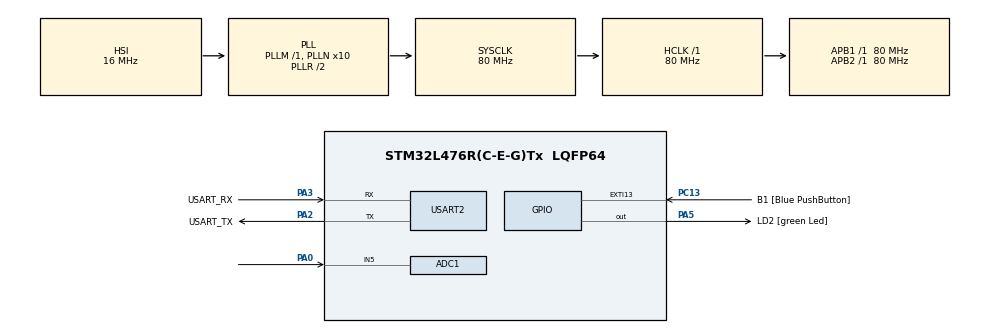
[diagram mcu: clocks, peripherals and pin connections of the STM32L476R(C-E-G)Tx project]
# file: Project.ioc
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ADC1.Channel-0\#ChannelRegularConversion=ADC_CHANNEL_5
ADC1.DMAContinuousRequests=ENABLE
ADC1.ExternalTrigConv=ADC_EXTERNALTRIG_T6_TRGO
ADC1.NbrOfConversionFlag=1
ADC1.master=1
Dma.ADC1.0.Direction=DMA_PERIPH_TO_MEMORY
Dma.ADC1.0.Instance=DMA1_Channel1
Dma.ADC1.0.MemDataAlignment=DMA_MDATAALIGN_HALFWORD
Dma.ADC1.0.MemInc=DMA_MINC_ENABLE
Dma.ADC1.0.Mode=DMA_CIRCULAR
Dma.ADC1.0.PeriphDataAlignment=DMA_PDATAALIGN_HALFWORD
Dma.ADC1.0.PeriphInc=DMA_PINC_DISABLE
Dma.ADC1.0.Priority=DMA_PRIORITY_HIGH
Dma.Request0=ADC1
Mcu.Family=STM32L4
Mcu.Name=STM32L476R(C-E-G)Tx
Mcu.Package=LQFP64
NVIC.DMA1_Channel1_IRQn=true\:0\:0\:false\:false\:true\:false\:true\:true
NVIC.EXTI15_10_IRQn=true\:0\:0\:false\:false\:true\:true\:true\:true
NVIC.PriorityGroup=NVIC_PRIORITYGROUP_4
PA0.Signal=ADCx_IN5
PA13\ (JTMS-SWDIO).GPIO_Label=TMS
PA13\ (JTMS-SWDIO).Mode=Serial_Wire
PA13\ (JTMS-SWDIO).Signal=SYS_JTMS-SWDIO
PA14\ (JTCK-SWCLK).GPIO_Label=TCK
PA14\ (JTCK-SWCLK).Mode=Serial_Wire
PA14\ (JTCK-SWCLK).Signal=SYS_JTCK-SWCLK
PA2.GPIO_Label=USART_TX
PA2.GPIO_Mode=GPIO_MODE_AF_PP
PA2.GPIO_PuPd=GPIO_NOPULL
PA2.GPIO_Speed=GPIO_SPEED_FREQ_VERY_HIGH
PA2.Mode=Asynchronous
PA2.Signal=USART2_TX
PA3.GPIO_Label=USART_RX
PA3.GPIO_Mode=GPIO_MODE_AF_PP
PA3.GPIO_PuPd=GPIO_NOPULL
PA3.GPIO_Speed=GPIO_SPEED_FREQ_VERY_HIGH
PA3.Mode=Asynchronous
PA3.Signal=USART2_RX
PA5.GPIO_Label=LD2 [green Led]
PA5.GPIO_ModeDefaultOutputPP=GPIO_MODE_OUTPUT_PP
PA5.GPIO_PuPd=GPIO_NOPULL
PA5.GPIO_Speed=GPIO_SPEED_FREQ_LOW
PA5.Signal=GPIO_Output
PB3\ (JTDO-TRACESWO).GPIO_Label=SWO
PB3\ (JTDO-TRACESWO).Signal=SYS_JTDO-SWO
PC13.GPIO_Label=B1 [Blue PushButton]
PC13.GPIO_ModeDefaultEXTI=GPIO_MODE_IT_RISING
PC13.GPIO_PuPd=GPIO_NOPULL
PC13.Signal=GPXTI13
PC14-OSC32_IN\ (PC14).Mode=LSE-External-Oscillator
PC14-OSC32_IN\ (PC14).Signal=RCC_OSC32_IN
PC15-OSC32_OUT\ (PC15).Mode=LSE-External-Oscillator
PC15-OSC32_OUT\ (PC15).Signal=RCC_OSC32_OUT
PH0-OSC_IN\ (PH0).Signal=RCC_OSC_IN
PH1-OSC_OUT\ (PH1).Signal=RCC_OSC_OUT
ProjectManager.HeapSize=0x200
ProjectManager.StackSize=0x400
ProjectManager.TargetToolchain=STM32CubeIDE
RCC.ADCFreq_Value=64000000
RCC.AHBFreq_Value=80000000
RCC.APB1Freq_Value=80000000
RCC.APB1TimFreq_Value=80000000
RCC.APB2Freq_Value=80000000
RCC.APB2TimFreq_Value=80000000
RCC.CortexFreq_Value=80000000
RCC.HCLKFreq_Value=80000000
RCC.HSE_VALUE=8000000
RCC.HSI_VALUE=16000000
RCC.MSI_VALUE=4000000
RCC.PLLN=10
RCC.PLLSourceVirtual=RCC_PLLSOURCE_HSI
RCC.PREFETCH_ENABLE=1
RCC.SYSCLKFreq_VALUE=80000000
RCC.SYSCLKSource=RCC_SYSCLKSOURCE_PLLCLK
RCC.USBFreq_Value=64000000
RCC.VCOOutputFreq_Value=160000000
SH.ADCx_IN5.0=ADC1_IN5,IN5-Single-Ended
TIM6.Period=49
TIM6.Prescaler=79
TIM6.TIM_MasterOutputTrigger=TIM_TRGO_UPDATE
USART2.VirtualMode-Asynchronous=VM_ASYNC
VP_TIM6_VS_ClockSourceINT.Mode=Enable_Timer
board=NUCLEO-L476RG

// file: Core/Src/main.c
/* USER CODE BEGIN Header */
/**
  ******************************************************************************
  * @file           : main.c
  * @brief          : Main program body
  ******************************************************************************
  * @attention
  *
  * Copyright (c) 2025 STMicroelectronics.
  * All rights reserved.
  *
  * This software is licensed under terms that can be found in the LICENSE file
  * in the root directory of this software component.
  * If no LICENSE file comes with this software, it is provided AS-IS.
  *
  ******************************************************************************
  */
/* USER CODE END Header */
#include "main.h"
#include "arm_math.h"
#include "stm32l476xx.h"
#include "stm32l4xx_hal.h"
#include "stm32l4xx_hal_adc.h"
#include "stm32l4xx_hal_gpio.h"

/* USER CODE BEGIN PD */
#define FFT_LENGTH 4096
#define FREQ_CAP 256
#define SAMPLING_RATE 20000
#define MARGIN 20
#define PASSWORD 5

/* USER CODE END PD */

ADC_HandleTypeDef hadc1;
DMA_HandleTypeDef hdma_adc1;

TIM_HandleTypeDef htim6;

UART_HandleTypeDef huart2;

/* USER CODE BEGIN PV */
enum Flag_t {TRUE, FALSE};
enum Flag_t button_flag = FALSE;
float32_t temp;
float32_t row_freq;
float32_t col_freq;

char number;
char row;
char col;

float32_t output_fft[FFT_LENGTH];
float32_t output_fft_mag[FFT_LENGTH / 2];
float32_t fft_buffer[FFT_LENGTH];
float32_t output_freq[FFT_LENGTH / 2];

uint16_t adc_buffer[FFT_LENGTH];

arm_rfft_fast_instance_f32 fft_handler;
/* USER CODE END PV */

void SystemClock_Config(void);
static void MX_GPIO_Init(void);
static void MX_DMA_Init(void);
static void MX_USART2_UART_Init(void);
static void MX_ADC1_Init(void);
static void MX_TIM6_Init(void);

/* USER CODE BEGIN 0 */
void button_logic(){
  row = 0;
  col = 0;

  if (row_freq > (697 - MARGIN) && row_freq < (697 + MARGIN)){
    row = 1;
  }
  else if (row_freq > (770 - MARGIN) && row_freq < (770 + MARGIN)){
    row = 2;
  }
  else if (row_freq > (852 - MARGIN) && row_freq < (852 + MARGIN)){
    row = 3;
  }
  else if (row_freq > (941 - MARGIN) && row_freq < (941 + MARGIN)){
    row = 4;
  }
  if (col_freq > (1209 - MARGIN) && col_freq < (1209 + MARGIN)){
    col = 1;
  }
  else if (col_freq > (1336 - MARGIN) && col_freq < (1336 + MARGIN)){
    col = 2;
  }
  else if (col_freq > (1477 - MARGIN) && col_freq < (1477 + MARGIN)){
    col = 3;
  }

  if      (row == 1 && col == 1) number = 1;
  else if (row == 1 && col == 2) number = 2;
  else if (row == 1 && col == 3) number = 3;
  else if (row == 2 && col == 1) number = 4;
  else if (row == 2 && col == 2) number = 5;
  else if (row == 2 && col == 3) number = 6;
  else if (row == 3 && col == 1) number = 7;
  else if (row == 3 && col == 2) number = 8;
  else if (row == 3 && col == 3) number = 9;
  else if (row == 4 && col == 2) number = 0;
}

void freq_maxima(){

  float32_t max1 = 0;
  float32_t max1_freq = 0;
  float32_t max2 = 0;
  float32_t max2_freq = 0;

  temp = 0;
  row_freq = 0;
  col_freq = 0;

  for (int i = 1; i < FFT_LENGTH / 2; i++){
    temp = output_fft_mag[i];
    if (temp > max1) {
      max2 = max1;
      max2_freq = max1_freq;

      max1 = temp;
      max1_freq = output_freq[i];
    }
    else if  (temp > max2 && temp < max1){
      max2 = temp;
      max2_freq = output_freq[i];
    }
  }

  if (max1_freq < max2_freq){
    row_freq = max1_freq;
    col_freq = max2_freq;
  }
  else {
    row_freq = max2_freq;
    col_freq = max1_freq;
  }
}

void password_logic(){
  if (number == PASSWORD){
    HAL_GPIO_TogglePin(GPIOA, GPIO_PIN_5);
    HAL_Delay(2000);
    HAL_GPIO_TogglePin(GPIOA, GPIO_PIN_5);
  }
  else {
    for (int  i = 0; i < 20; i++){
      HAL_GPIO_TogglePin(GPIOA, GPIO_PIN_5);
      HAL_Delay(50);
    }
  }
}

void project_logic(){

  if (button_flag == TRUE){
    arm_rfft_fast_f32(&fft_handler, fft_buffer, output_fft,0);
    arm_cmplx_mag_f32(output_fft, output_fft_mag, FFT_LENGTH/2);

    freq_maxima();

    button_logic();

    password_logic();

    button_flag = FALSE;
  }
}

/* USER CODE END 0 */

int main(void)
{

  /* MCU Configuration--------------------------------------------------------*/

  /* Reset of all peripherals, Initializes the Flash interface and the Systick. */
  HAL_Init();

  /* Configure the system clock */
  SystemClock_Config();

  /* Initialize all configured peripherals */
  MX_GPIO_Init();
  MX_DMA_Init();
  MX_USART2_UART_Init();
  MX_ADC1_Init();
  MX_TIM6_Init();
  /* USER CODE BEGIN 2 */

  arm_rfft_fast_init_f32(&fft_handler, FFT_LENGTH);

  HAL_TIM_Base_Start(&htim6);
  HAL_GPIO_WritePin(GPIOA, GPIO_PIN_8, GPIO_PIN_RESET);

  for (int i=0; i<FFT_LENGTH/2; i++)
  {
    output_freq[i] = (float32_t)(i) / FFT_LENGTH * SAMPLING_RATE;
  }

  /* USER CODE END 2 */

  /* Infinite loop */
  while (1)
  {

    /* USER CODE BEGIN 3 */
    project_logic();
  }
  /* USER CODE END 3 */
}

void SystemClock_Config(void)
{
  RCC_OscInitTypeDef RCC_OscInitStruct = {0};
  RCC_ClkInitTypeDef RCC_ClkInitStruct = {0};

  /** Configure the main internal regulator output voltage
  */
  if (HAL_PWREx_ControlVoltageScaling(PWR_REGULATOR_VOLTAGE_SCALE1) != HAL_OK)
  {
    Error_Handler();
  }

  /** Initializes the RCC Oscillators according to the specified parameters
  * in the RCC_OscInitTypeDef structure.
  */
  RCC_OscInitStruct.OscillatorType = RCC_OSCILLATORTYPE_HSI;
  RCC_OscInitStruct.HSIState = RCC_HSI_ON;
  RCC_OscInitStruct.HSICalibrationValue = RCC_HSICALIBRATION_DEFAULT;
  RCC_OscInitStruct.PLL.PLLState = RCC_PLL_ON;
  RCC_OscInitStruct.PLL.PLLSource = RCC_PLLSOURCE_HSI;
  RCC_OscInitStruct.PLL.PLLM = 1;
  RCC_OscInitStruct.PLL.PLLN = 10;
  RCC_OscInitStruct.PLL.PLLP = RCC_PLLP_DIV7;
  RCC_OscInitStruct.PLL.PLLQ = RCC_PLLQ_DIV2;
  RCC_OscInitStruct.PLL.PLLR = RCC_PLLR_DIV2;
  if (HAL_RCC_OscConfig(&RCC_OscInitStruct) != HAL_OK)
  {
    Error_Handler();
  }

  /** Initializes the CPU, AHB and APB buses clocks
  */
  RCC_ClkInitStruct.ClockType = RCC_CLOCKTYPE_HCLK|RCC_CLOCKTYPE_SYSCLK
                              |RCC_CLOCKTYPE_PCLK1|RCC_CLOCKTYPE_PCLK2;
  RCC_ClkInitStruct.SYSCLKSource = RCC_SYSCLKSOURCE_PLLCLK;
  RCC_ClkInitStruct.AHBCLKDivider = RCC_SYSCLK_DIV1;
  RCC_ClkInitStruct.APB1CLKDivider = RCC_HCLK_DIV1;
  RCC_ClkInitStruct.APB2CLKDivider = RCC_HCLK_DIV1;

  if (HAL_RCC_ClockConfig(&RCC_ClkInitStruct, FLASH_LATENCY_4) != HAL_OK)
  {
    Error_Handler();
  }
}

static void MX_ADC1_Init(void)
{

  ADC_MultiModeTypeDef multimode = {0};
  ADC_ChannelConfTypeDef sConfig = {0};

  /** Common config
  */
  hadc1.Instance = ADC1;
  hadc1.Init.ClockPrescaler = ADC_CLOCK_ASYNC_DIV1;
  hadc1.Init.Resolution = ADC_RESOLUTION_12B;
  hadc1.Init.DataAlign = ADC_DATAALIGN_RIGHT;
  hadc1.Init.ScanConvMode = ADC_SCAN_DISABLE;
  hadc1.Init.EOCSelection = ADC_EOC_SINGLE_CONV;
  hadc1.Init.LowPowerAutoWait = DISABLE;
  hadc1.Init.ContinuousConvMode = DISABLE;
  hadc1.Init.NbrOfConversion = 1;
  hadc1.Init.DiscontinuousConvMode = DISABLE;
  hadc1.Init.ExternalTrigConv = ADC_EXTERNALTRIG_T6_TRGO;
  hadc1.Init.ExternalTrigConvEdge = ADC_EXTERNALTRIGCONVEDGE_RISING;
  hadc1.Init.DMAContinuousRequests = ENABLE;
  hadc1.Init.Overrun = ADC_OVR_DATA_PRESERVED;
  hadc1.Init.OversamplingMode = DISABLE;
  if (HAL_ADC_Init(&hadc1) != HAL_OK)
  {
    Error_Handler();
  }

  /** Configure the ADC multi-mode
  */
  multimode.Mode = ADC_MODE_INDEPENDENT;
  if (HAL_ADCEx_MultiModeConfigChannel(&hadc1, &multimode) != HAL_OK)
  {
    Error_Handler();
  }

  /** Configure Regular Channel
  */
  sConfig.Channel = ADC_CHANNEL_5;
  sConfig.Rank = ADC_REGULAR_RANK_1;
  sConfig.SamplingTime = ADC_SAMPLETIME_2CYCLES_5;
  sConfig.SingleDiff = ADC_SINGLE_ENDED;
  sConfig.OffsetNumber = ADC_OFFSET_NONE;
  sConfig.Offset = 0;
  if (HAL_ADC_ConfigChannel(&hadc1, &sConfig) != HAL_OK)
  {
    Error_Handler();
  }

}

static void MX_TIM6_Init(void)
{

  TIM_MasterConfigTypeDef sMasterConfig = {0};

  htim6.Instance = TIM6;
  htim6.Init.Prescaler = 79;
  htim6.Init.CounterMode = TIM_COUNTERMODE_UP;
  htim6.Init.Period = 49;
  htim6.Init.AutoReloadPreload = TIM_AUTORELOAD_PRELOAD_DISABLE;
  if (HAL_TIM_Base_Init(&htim6) != HAL_OK)
  {
    Error_Handler();
  }
  sMasterConfig.MasterOutputTrigger = TIM_TRGO_UPDATE;
  sMasterConfig.MasterSlaveMode = TIM_MASTERSLAVEMODE_DISABLE;
  if (HAL_TIMEx_MasterConfigSynchronization(&htim6, &sMasterConfig) != HAL_OK)
  {
    Error_Handler();
  }

}

static void MX_USART2_UART_Init(void)
{

  huart2.Instance = USART2;
  huart2.Init.BaudRate = 115200;
  huart2.Init.WordLength = UART_WORDLENGTH_8B;
  huart2.Init.StopBits = UART_STOPBITS_1;
  huart2.Init.Parity = UART_PARITY_NONE;
  huart2.Init.Mode = UART_MODE_TX_RX;
  huart2.Init.HwFlowCtl = UART_HWCONTROL_NONE;
  huart2.Init.OverSampling = UART_OVERSAMPLING_16;
  huart2.Init.OneBitSampling = UART_ONE_BIT_SAMPLE_DISABLE;
  huart2.AdvancedInit.AdvFeatureInit = UART_ADVFEATURE_NO_INIT;
  if (HAL_UART_Init(&huart2) != HAL_OK)
  {
    Error_Handler();
  }

}

static void MX_DMA_Init(void)
{

  /* DMA controller clock enable */
  __HAL_RCC_DMA1_CLK_ENABLE();

  /* DMA interrupt init */
  /* DMA1_Channel1_IRQn interrupt configuration */
  HAL_NVIC_SetPriority(DMA1_Channel1_IRQn, 0, 0);
  HAL_NVIC_EnableIRQ(DMA1_Channel1_IRQn);

}

static void MX_GPIO_Init(void)
{
  GPIO_InitTypeDef GPIO_InitStruct = {0};

  /* GPIO Ports Clock Enable */
  __HAL_RCC_GPIOC_CLK_ENABLE();
  __HAL_RCC_GPIOH_CLK_ENABLE();
  __HAL_RCC_GPIOA_CLK_ENABLE();
  __HAL_RCC_GPIOB_CLK_ENABLE();

  /*Configure GPIO pin Output Level */
  HAL_GPIO_WritePin(LD2_GPIO_Port, LD2_Pin, GPIO_PIN_RESET);

  /*Configure GPIO pin : B1_Pin */
  GPIO_InitStruct.Pin = B1_Pin;
  GPIO_InitStruct.Mode = GPIO_MODE_IT_RISING;
  GPIO_InitStruct.Pull = GPIO_NOPULL;
  HAL_GPIO_Init(B1_GPIO_Port, &GPIO_InitStruct);

  /*Configure GPIO pin : LD2_Pin */
  GPIO_InitStruct.Pin = LD2_Pin;
  GPIO_InitStruct.Mode = GPIO_MODE_OUTPUT_PP;
  GPIO_InitStruct.Pull = GPIO_NOPULL;
  GPIO_InitStruct.Speed = GPIO_SPEED_FREQ_LOW;
  HAL_GPIO_Init(LD2_GPIO_Port, &GPIO_InitStruct);

  /* EXTI interrupt init*/
  HAL_NVIC_SetPriority(EXTI15_10_IRQn, 0, 0);
  HAL_NVIC_EnableIRQ(EXTI15_10_IRQn);

}

/* USER CODE BEGIN 4 */

void HAL_GPIO_EXTI_Callback(uint16_t GPIO_Pin){
  HAL_ADC_Start_DMA(&hadc1, adc_buffer, FFT_LENGTH);
}

void HAL_ADC_ConvHalfCpltCallback(ADC_HandleTypeDef *hadc){
  for (int i = 0; i < FFT_LENGTH/2; i++) fft_buffer[i] = (float32_t)adc_buffer[i];

}
void HAL_ADC_ConvCpltCallback(ADC_HandleTypeDef *hadc){
  button_flag = TRUE;

  for (int i = FFT_LENGTH/2; i < FFT_LENGTH; i++) {
    fft_buffer[i] = (float32_t)adc_buffer[i];
  }

  HAL_ADC_Stop_DMA(&hadc1);
}

/* USER CODE END 4 */

void Error_Handler(void)
{
  __disable_irq();
  while (1)
  {
  }
}
